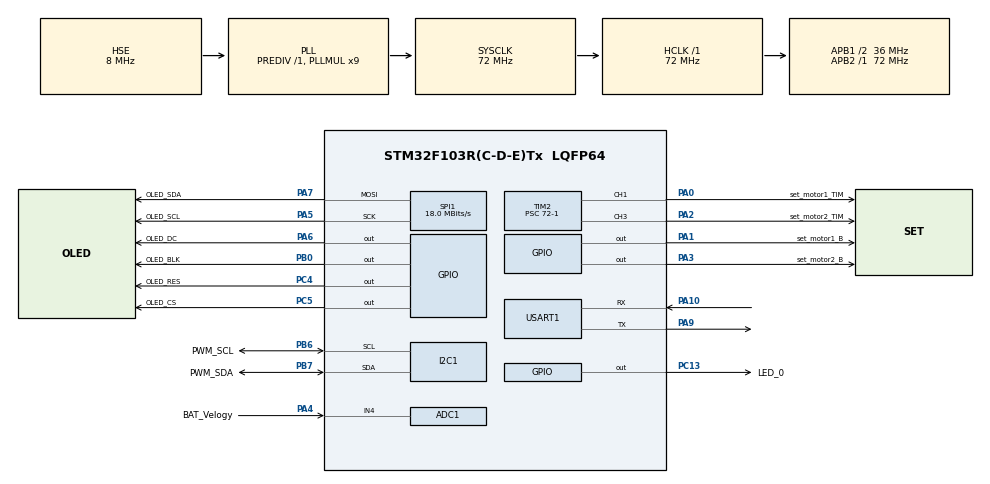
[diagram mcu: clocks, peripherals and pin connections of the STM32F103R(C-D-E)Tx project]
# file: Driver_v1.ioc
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ADC1.Channel-0\#ChannelRegularConversion=ADC_CHANNEL_4
ADC1.NbrOfConversionFlag=1
ADC1.Rank-0\#ChannelRegularConversion=1
ADC1.SamplingTime-0\#ChannelRegularConversion=ADC_SAMPLETIME_1CYCLE_5
ADC1.master=1
Dma.Request0=USART1_RX
Dma.Request1=USART1_TX
Dma.USART1_RX.0.Direction=DMA_PERIPH_TO_MEMORY
Dma.USART1_RX.0.Instance=DMA1_Channel5
Dma.USART1_RX.0.MemDataAlignment=DMA_MDATAALIGN_BYTE
Dma.USART1_RX.0.MemInc=DMA_MINC_ENABLE
Dma.USART1_RX.0.Mode=DMA_NORMAL
Dma.USART1_RX.0.PeriphDataAlignment=DMA_PDATAALIGN_BYTE
Dma.USART1_RX.0.PeriphInc=DMA_PINC_DISABLE
Dma.USART1_RX.0.Priority=DMA_PRIORITY_LOW
Dma.USART1_TX.1.Direction=DMA_MEMORY_TO_PERIPH
Dma.USART1_TX.1.Instance=DMA1_Channel4
Dma.USART1_TX.1.MemDataAlignment=DMA_MDATAALIGN_BYTE
Dma.USART1_TX.1.MemInc=DMA_MINC_ENABLE
Dma.USART1_TX.1.Mode=DMA_NORMAL
Dma.USART1_TX.1.PeriphDataAlignment=DMA_PDATAALIGN_BYTE
Dma.USART1_TX.1.PeriphInc=DMA_PINC_DISABLE
Dma.USART1_TX.1.Priority=DMA_PRIORITY_LOW
Mcu.Family=STM32F1
Mcu.Name=STM32F103R(C-D-E)Tx
Mcu.Package=LQFP64
NVIC.DMA1_Channel4_IRQn=true\:0\:0\:false\:false\:true\:false\:true
NVIC.DMA1_Channel5_IRQn=true\:0\:0\:false\:false\:true\:false\:true
NVIC.PriorityGroup=NVIC_PRIORITYGROUP_4
NVIC.USART1_IRQn=true\:0\:0\:false\:false\:true\:true\:true
PA0-WKUP.GPIO_Label=set_motor1_TIM
PA0-WKUP.Signal=S_TIM2_CH1_ETR
PA1.GPIO_Label=set_motor1_B
PA1.Signal=GPIO_Output
PA10.Mode=Asynchronous
PA10.Signal=USART1_RX
PA13.Mode=Serial_Wire
PA13.Signal=SYS_JTMS-SWDIO
PA14.Mode=Serial_Wire
PA14.Signal=SYS_JTCK-SWCLK
PA2.GPIO_Label=set_motor2_TIM
PA2.Signal=S_TIM2_CH3
PA3.GPIO_Label=set_motor2_B
PA3.Signal=GPIO_Output
PA4.GPIO_Label=BAT_Velogy
PA4.Signal=ADCx_IN4
PA5.GPIO_Label=OLED_SCL
PA5.Mode=TX_Only_Simplex_Unidirect_Master
PA5.Signal=SPI1_SCK
PA6.GPIO_Label=OLED_DC
PA6.Signal=GPIO_Output
PA7.GPIO_Label=OLED_SDA
PA7.Mode=TX_Only_Simplex_Unidirect_Master
PA7.Signal=SPI1_MOSI
PA9.Mode=Asynchronous
PA9.Signal=USART1_TX
PB0.GPIO_Label=OLED_BLK
PB0.Signal=GPIO_Output
PB6.GPIO_Label=PWM_SCL
PB6.Mode=I2C
PB6.Signal=I2C1_SCL
PB7.GPIO_Label=PWM_SDA
PB7.Mode=I2C
PB7.Signal=I2C1_SDA
PC13-TAMPER-RTC.GPIO_Label=LED_0
PC13-TAMPER-RTC.Signal=GPIO_Output
PC14-OSC32_IN.Mode=LSE-External-Oscillator
PC14-OSC32_IN.Signal=RCC_OSC32_IN
PC15-OSC32_OUT.Mode=LSE-External-Oscillator
PC15-OSC32_OUT.Signal=RCC_OSC32_OUT
PC4.GPIO_Label=OLED_RES
PC4.Signal=GPIO_Output
PC5.GPIO_Label=OLED_CS
PC5.Signal=GPIO_Output
PD0-OSC_IN.Mode=HSE-External-Oscillator
PD0-OSC_IN.Signal=RCC_OSC_IN
PD1-OSC_OUT.Mode=HSE-External-Oscillator
PD1-OSC_OUT.Signal=RCC_OSC_OUT
ProjectManager.HeapSize=0x200
ProjectManager.StackSize=0x400
ProjectManager.TargetToolchain=MDK-ARM V5
RCC.ADCPresc=RCC_ADCPCLK2_DIV6
RCC.AHBFreq_Value=72000000
RCC.APB1CLKDivider=RCC_HCLK_DIV2
RCC.APB1Freq_Value=36000000
RCC.APB1TimFreq_Value=72000000
RCC.APB2Freq_Value=72000000
RCC.APB2TimFreq_Value=72000000
RCC.HCLKFreq_Value=72000000
RCC.PLLMUL=RCC_PLL_MUL9
RCC.PLLSourceVirtual=RCC_PLLSOURCE_HSE
RCC.SYSCLKFreq_VALUE=72000000
RCC.SYSCLKSource=RCC_SYSCLKSOURCE_PLLCLK
RCC.USBFreq_Value=72000000
SH.ADCx_IN4.0=ADC1_IN4,IN4
SH.S_TIM2_CH1_ETR.0=TIM2_CH1,PWM Generation1 CH1
SH.S_TIM2_CH3.0=TIM2_CH3,PWM Generation3 CH3
SPI1.BaudRatePrescaler=SPI_BAUDRATEPRESCALER_4
SPI1.CLKPhase=SPI_PHASE_2EDGE
SPI1.CLKPolarity=SPI_POLARITY_HIGH
SPI1.CalculateBaudRate=18.0 MBits/s
SPI1.Direction=SPI_DIRECTION_2LINES
SPI1.Mode=SPI_MODE_MASTER
SPI1.VirtualType=VM_MASTER
TIM2.AutoReloadPreload=TIM_AUTORELOAD_PRELOAD_ENABLE
TIM2.Channel-PWM\ Generation1\ CH1=TIM_CHANNEL_1
TIM2.Channel-PWM\ Generation3\ CH3=TIM_CHANNEL_3
TIM2.Period=500-1
TIM2.Prescaler=72-1
TIM2.Pulse-PWM\ Generation1\ CH1=200
USART1.VirtualMode=VM_ASYNC
board=custom

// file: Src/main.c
/* USER CODE BEGIN Header */
/**
  ******************************************************************************
  * @file           : main.c
  * @brief          : Main program body
  ******************************************************************************
  * @attention
  *
  * <h2><center>&copy; Copyright (c) 2020 STMicroelectronics.
  * All rights reserved.</center></h2>
  *
  * This software component is licensed by ST under BSD 3-Clause license,
  * the "License"; You may not use this file except in compliance with the
  * License. You may obtain a copy of the License at:
  *                        opensource.org/licenses/BSD-3-Clause
  *
  ******************************************************************************
  */
/* USER CODE END Header */

#include "main.h"
#include "adc.h"
#include "dma.h"
#include "i2c.h"
#include "spi.h"
#include "usart.h"
#include "gpio.h"
#include "lcd.h"
#include "stm32_pca9685.h"
#include "tim.h"

/* USER CODE BEGIN Includes */
#ifdef __GNUC__
/* With GCC, small printf (option LD Linker->Libraries->Small printf
   set to 'Yes') calls __io_putchar() */
#define PUTCHAR_PROTOTYPE int __io_putchar(int ch)
#else
#define PUTCHAR_PROTOTYPE int fputc(int ch, FILE *f)
#endif /* __GNUC__ */

/* Private functions -------------------------------------------------*/
/* USER CODE END Includes */
PUTCHAR_PROTOTYPE
{
    HAL_UART_Transmit(&huart1 , (uint8_t *)&ch, 1, 0xFFFF);
    return ch;
}
/* USER CODE BEGIN PTD */
uint8_t aRxBuffer;   //接收中断缓冲
uint8_t Uart1_RxBuff[256];  //接收缓冲
uint8_t Uart1_Rx_Cnt = 0;  //接收缓冲计数

uint8_t Reve_Data[256];
uint8_t Reve_Order;

uint16_t ADC1_Value;

//uint8_t cAlmStr[] = "数据溢出(大于256)\r\n";
/* USER CODE END PTD */

void SystemClock_Config(void);

int main(void)
{
  /* USER CODE BEGIN 1 */
	uint16_t a_value = 35,i;
	int value_PWM;
  /* USER CODE END 1 */

  /* MCU Configuration--------------------------------------------------------*/

  /* Reset of all peripherals, Initializes the Flash interface and the Systick. */
  HAL_Init();

  /* Configure the system clock */
  SystemClock_Config();

  /* Initialize all configured peripherals */
  MX_GPIO_Init();
  MX_DMA_Init();
  MX_USART1_UART_Init();
  MX_ADC1_Init();
  MX_I2C1_Init();
  MX_SPI1_Init();
	MX_TIM2_Init();
	PCA_MG9XX_Init(60,90);//初始化舵机驱动
  /* USER CODE BEGIN 2 */
	HAL_UART_Receive_IT(&huart1, (uint8_t *)&aRxBuffer, 1); //开启接收中断，用来接收串口发送过来的信息
	HAL_TIM_PWM_Start(&htim2, TIM_CHANNEL_1); //开启定时器PWM通道 定时器2 通道1
	HAL_TIM_PWM_Start(&htim2, TIM_CHANNEL_3); //开启定时器PWM通道 定时器2 通道3
	__HAL_TIM_SET_COMPARE(&htim2, TIM_CHANNEL_1, 0); //设置PWM的占空比，这里初始化占空比为0
	__HAL_TIM_SET_COMPARE(&htim2, TIM_CHANNEL_3, 0); //设置PWM的占空比，这里初始化占空比为0

  /* USER CODE END 2 */
	/*屏幕因为线路原因接触不良，初始化两遍屏幕*/
	HAL_Delay(500);
	printf("初始化led \r\n");
	Lcd_Init();			//初始化OLED
	printf("设置背景 \r\n");
	LCD_Clear(BLACK);
	printf("设置颜色 \r\n");
	BACK_COLOR=BLACK;

	printf("初始化led \r\n");
	Lcd_Init();			//初始化OLED
	printf("设置背景 \r\n");
	LCD_Clear(BLACK);
	printf("设置颜色 \r\n");
	BACK_COLOR=BLACK;

	/*根据教程在这里显示几个大字！*/
//	LCD_ShowChinese32x32(10, 0, 0, 32, YELLOW);   //中
//	LCD_ShowChinese32x32(45, 0, 1, 32, YELLOW);   //景
//	LCD_ShowChinese32x32(80, 0, 2, 32, YELLOW);   //园
//	LCD_ShowChinese32x32(115, 0, 3, 32, YELLOW);  //电
//	LCD_ShowChinese32x32(150, 0, 4, 32, YELLOW);  //子
//	printf("写入图片 \r\n");
//	LCD_ShowPicture(0,50,100,100);
//	HAL_Delay(200);
//	LCD_ShowPicture(80,50,100,100);
//	HAL_Delay(200);
//	LCD_ShowPicture(80,100,100,100);
//	HAL_Delay(200);
//	LCD_ShowPicture(0,100,100,100);
//	HAL_Delay(200);
//	LCD_ShowPicture(0,50,100,100);
	LCD_ShowString(0, 0, "Welcome!", YELLOW); //把数据显示到屏幕上，显示完成自动换行
  /* Infinite loop */
  /* USER CODE BEGIN WHILE */
  while (1)
  {
			/*
				函数作用：
				输入数据：
				返回数据
			*/

			/*设置ADC的引脚用来检测电池电压*/
			HAL_ADC_Start(&hadc1);
			HAL_ADC_PollForConversion(&hadc1, 10);
			if(HAL_IS_BIT_SET(HAL_ADC_GetState(&hadc1), HAL_ADC_STATE_REG_EOC))
			{
				ADC1_Value = HAL_ADC_GetValue(&hadc1);
			}
			/*开始进入串口控制部分
				串口可以控制驱动板的所有模块，串口发送过来的数据分为两部分，第一个字节是命令，第一个字节以后是控制数据
				第一个字节用来判断需要对哪一个模块进行操作；
				后面的字节根据不同的模块分配不同的参数
				 0 ： 控制LED的亮灭；
				 1 ： 控制显示屏幕显示特定数据；
				 2 ： 控制PCA9685模块，来控制16路PWM的输出；
				 3 ： 控制底盘电机的运动，可以控制两个电机的正反转和转速；

				注意：
					Reve_Order 的值直接代表了串口接收到的第一个字节的数据
					Reve_Data  是接收到的从第二个字节开始的数据，一共有255个字节
			*/
			if(Reve_Order =='0') //处理串口控制LED部分
				{
					/*数据部分一共一个字节，
						0代表关闭LED灯；
						1代表开启LED灯；
					*/
					if(Reve_Data[1] == '0'){ HAL_GPIO_WritePin(LED_0_GPIO_Port, LED_0_Pin, GPIO_PIN_SET);}
					else if(Reve_Data[1] =='1') {	HAL_GPIO_WritePin(LED_0_GPIO_Port, LED_0_Pin, GPIO_PIN_RESET);}
					Reve_Order = ' ';
					printf("set led ok  \r\n");
				}

			else if(Reve_Order =='1')  //处理串口控制显示屏部分
				{
					/*数据部分在0至255个字节范围内；
						将发送过来的数据直接显示在屏幕上。
					*/
					for(i=0;i<sizeof(Reve_Data);i++) //处理要显示的数据
						{
							if(Reve_Data[i]== '\0') //检测接收到的数据的结尾
								{
									Reve_Data[i-2] = Reve_Data[i]; //把结尾的'\0'提前到'\r'前面，防止显示的数据出现乱码
								}
						}
					Reve_Data[0] = '>'; //在显示的数据最前面加上'>'字符
					a_value = LCD_ShowString(0, a_value, Reve_Data, YELLOW); //把数据显示到屏幕上，显示完成自动换行
					Reve_Order = ' '; //把命令控制数据清除
					printf("set OLED ok   \r\n");
				}

			else if(Reve_Order =='2')  //处理串口控制舵机部分
				{
					/*接收的数据为a至p号舵机及其角度，每次可以控制多个舵机
						把接收到的数据全部循环，当检测到字母的时候自动整理字母紧跟着的三位数据；
						这三位数据就是舵机的角度，控制舵机的角度的数据需要为001、090、180这种格式，长度必须是三位，长度不够需要用0代替；
					*/
					for(i=1;i<sizeof(Reve_Data);i++)
						{
							a_value = (int)Reve_Data[i]; //把接收到的字符型数据转换为整型数据
							if( 96<a_value && a_value<113 ) //判断这个数据是不是在a至p范围内的字母，如果是，开始则转换后面的角度数据
								{
									value_PWM = ((int)Reve_Data[i+1]-48)*100+ ((int)Reve_Data[i+2]-48)*10+ (int)Reve_Data[i+3]-48;//把字符型角度数据转换成整型
									if(value_PWM>= 180)value_PWM = 179; //对角度大小进行控制，放置超出范围
									else if (value_PWM <= 1) value_PWM = 1;
									printf("set PWM ok %c  value_PWM: %d  \r\n",a_value ,value_PWM);
									switch (a_value) //根据字母代表的不同的舵机来设置不同的角度
										{
											case 'a':PCA_MG9XX(0, value_PWM); break;//通道0 转动value_PWM大小的角度
											case 'b':PCA_MG9XX(1, value_PWM); break;//通道1 转动value_PWM大小的角度
											case 'c':PCA_MG9XX(2, value_PWM); break;//通道2 转动value_PWM大小的角度
											case 'd':PCA_MG9XX(3, value_PWM); break;//通道3 转动value_PWM大小的角度
											case 'e':PCA_MG9XX(4, value_PWM); break;//通道4 转动value_PWM大小的角度
											case 'f':PCA_MG9XX(5, value_PWM); break;//通道5 转动value_PWM大小的角度
											case 'g':PCA_MG9XX(6, value_PWM); break;//通道6 转动value_PWM大小的角度
											case 'h':PCA_MG9XX(7, value_PWM); break;//通道7 转动value_PWM大小的角度
											case 'i':PCA_MG9XX(8, value_PWM); break;//通道8 转动value_PWM大小的角度
											case 'j':PCA_MG9XX(9, value_PWM); break;//通道9 转动value_PWM大小的角度
											case 'k':PCA_MG9XX(10,value_PWM); break;//通道10 转动value_PWM大小的角度
											case 'l':PCA_MG9XX(11,value_PWM); break;//通道11 转动value_PWM大小的角度
											case 'm':PCA_MG9XX(12,value_PWM); break;//通道12 转动value_PWM大小的角度
											case 'n':PCA_MG9XX(13,value_PWM); break;//通道13 转动value_PWM大小的角度
											case 'o':PCA_MG9XX(14,value_PWM); break;//通道14 转动value_PWM大小的角度
											case 'p':PCA_MG9XX(15,value_PWM); break;//通道15 转动value_PWM大小的角度
										}
									a_value = 0; //把得到的字母清除
								}
							if(Reve_Data[i] == '\n')break; //如果数据结束，自动跳出for循环
						}
					Reve_Order = ' ';
				}
			else if(Reve_Order =='3')  //处理串口控制底盘的两个电机
				{
					/*数据部分最多4个字节
						接收到的数据分为两个电机的控制，每个电机的控制分为前后和角度
						比如数据为g0a9 默认前两个字节控制第一个电机，后两个字节控制另一个
						g是go也就是前进，速度为0，则停止转动，a是after是后退，速度为9，以最高速转动
						如果输入的数据不符合格式，两个电机都不转动*/
					if( Reve_Data[1] == 'g')
						{
							__HAL_TIM_SET_COMPARE(&htim2, TIM_CHANNEL_1,1000-((int)Reve_Data[2]-48)*100); //根据接收的数据转换成整型控制PWM
							HAL_GPIO_WritePin(set_motor1_B_GPIO_Port,set_motor1_B_Pin,GPIO_PIN_SET); //电机的另一个引脚设置为普通io，直接控制电平来控制正反转
						}
					else if( Reve_Data[1] == 'a')
						{
							__HAL_TIM_SET_COMPARE(&htim2, TIM_CHANNEL_1, ((int)Reve_Data[2]-48)*100); //根据接收的数据转换成整型控制PWM
							HAL_GPIO_WritePin(set_motor1_B_GPIO_Port,set_motor1_B_Pin,GPIO_PIN_RESET);//电机的另一个引脚设置为普通io，直接控制电平来控制正反转
						}
					else
						{ //两个电机都停止转动
							__HAL_TIM_SET_COMPARE(&htim2, TIM_CHANNEL_3, 1000);
							HAL_GPIO_WritePin(set_motor1_B_GPIO_Port,set_motor1_B_Pin,GPIO_PIN_SET);
							__HAL_TIM_SET_COMPARE(&htim2, TIM_CHANNEL_1, 1000);
							HAL_GPIO_WritePin(set_motor2_B_GPIO_Port,set_motor2_B_Pin,GPIO_PIN_SET);
						}

					if( Reve_Data[3] == 'g')
						{
							__HAL_TIM_SET_COMPARE(&htim2, TIM_CHANNEL_3, 1000-((int)Reve_Data[4]-48)*100); //根据接收的数据转换成整型控制PWM
							HAL_GPIO_WritePin(set_motor2_B_GPIO_Port,set_motor2_B_Pin,GPIO_PIN_SET); //电机的另一个引脚设置为普通io，直接控制电平来控制正反转
						}
					else if( Reve_Data[3] == 'a')
						{
							__HAL_TIM_SET_COMPARE(&htim2, TIM_CHANNEL_3, ((int)Reve_Data[4]-48)*100); //根据接收的数据转换成整型控制PWM
							HAL_GPIO_WritePin(set_motor2_B_GPIO_Port,set_motor2_B_Pin,GPIO_PIN_RESET); //电机的另一个引脚设置为普通io，直接控制电平来控制正反转
						}
					else
						{ //两个电机都停止转动
							__HAL_TIM_SET_COMPARE(&htim2, TIM_CHANNEL_3, 1000);
							HAL_GPIO_WritePin(set_motor1_B_GPIO_Port,set_motor1_B_Pin,GPIO_PIN_SET);
							__HAL_TIM_SET_COMPARE(&htim2, TIM_CHANNEL_1, 1000);
							HAL_GPIO_WritePin(set_motor2_B_GPIO_Port,set_motor1_B_Pin,GPIO_PIN_SET);
						}
					Reve_Order = ' ';
					printf("set MOTOR ok  \r\n");
				}
		}
  /* USER CODE END 3 */
}

void SystemClock_Config(void)
{
  RCC_OscInitTypeDef RCC_OscInitStruct = {0};
  RCC_ClkInitTypeDef RCC_ClkInitStruct = {0};
  RCC_PeriphCLKInitTypeDef PeriphClkInit = {0};

  /** Initializes the CPU, AHB and APB busses clocks
  */
  RCC_OscInitStruct.OscillatorType = RCC_OSCILLATORTYPE_HSE;
  RCC_OscInitStruct.HSEState = RCC_HSE_ON;
  RCC_OscInitStruct.HSEPredivValue = RCC_HSE_PREDIV_DIV1;
  RCC_OscInitStruct.HSIState = RCC_HSI_ON;
  RCC_OscInitStruct.PLL.PLLState = RCC_PLL_ON;
  RCC_OscInitStruct.PLL.PLLSource = RCC_PLLSOURCE_HSE;
  RCC_OscInitStruct.PLL.PLLMUL = RCC_PLL_MUL9;
  if (HAL_RCC_OscConfig(&RCC_OscInitStruct) != HAL_OK)
  {
    Error_Handler();
  }
  /** Initializes the CPU, AHB and APB busses clocks
  */
  RCC_ClkInitStruct.ClockType = RCC_CLOCKTYPE_HCLK|RCC_CLOCKTYPE_SYSCLK
                              |RCC_CLOCKTYPE_PCLK1|RCC_CLOCKTYPE_PCLK2;
  RCC_ClkInitStruct.SYSCLKSource = RCC_SYSCLKSOURCE_PLLCLK;
  RCC_ClkInitStruct.AHBCLKDivider = RCC_SYSCLK_DIV1;
  RCC_ClkInitStruct.APB1CLKDivider = RCC_HCLK_DIV2;
  RCC_ClkInitStruct.APB2CLKDivider = RCC_HCLK_DIV1;

  if (HAL_RCC_ClockConfig(&RCC_ClkInitStruct, FLASH_LATENCY_2) != HAL_OK)
  {
    Error_Handler();
  }
  PeriphClkInit.PeriphClockSelection = RCC_PERIPHCLK_ADC;
  PeriphClkInit.AdcClockSelection = RCC_ADCPCLK2_DIV2;
  if (HAL_RCCEx_PeriphCLKConfig(&PeriphClkInit) != HAL_OK)
  {
    Error_Handler();
  }
}

/* USER CODE BEGIN 4 */
/*串口通讯部分*/
/*串口接收到的程序分为两部分，第一个字节是命令，后面的是数据
*/
void HAL_UART_RxCpltCallback(UART_HandleTypeDef *huart)
	{
		uint8_t i=0;
		UNUSED(huart);

		Uart1_RxBuff[Uart1_Rx_Cnt++] = aRxBuffer;   //接收数据转存

		if((Uart1_RxBuff[Uart1_Rx_Cnt-1] == 0x0A)&&(Uart1_RxBuff[Uart1_Rx_Cnt-2] == 0x0D)) //判断结束位，判断数据的\r\n
			{
				/*接收的第一个字节是命令，用来控制不同的模块*/
				Reve_Order = Uart1_RxBuff[0];
				/*如果使用value无法向外传递接收到字符串*/
				/*用Uart1_RxBuff的前两个字节存放命令，后面的字节存放数据
					数据包括文字数据和图片数据一起其他上位机发送给下位机的控制数据，数据内容不一定，
					*/
				for (i=0; i<sizeof(Uart1_RxBuff)-1; i++)
					{
						Reve_Data[i] = Uart1_RxBuff[i];
					}

				printf("PA6 Voltage : %.4f \r\n",2*ADC1_Value*3.3f/4096);

				Uart1_Rx_Cnt = 0;

				memset(Uart1_RxBuff,0x00,sizeof(Uart1_RxBuff)); //清空数组
			}
	 HAL_UART_Receive_IT(&huart1, (uint8_t *)&aRxBuffer, 1);   //再开启接收中断
	}

/* USER CODE END 4 */

void Error_Handler(void)
{
}

/************************ (C) COPYRIGHT STMicroelectronics *****END OF FILE****/
